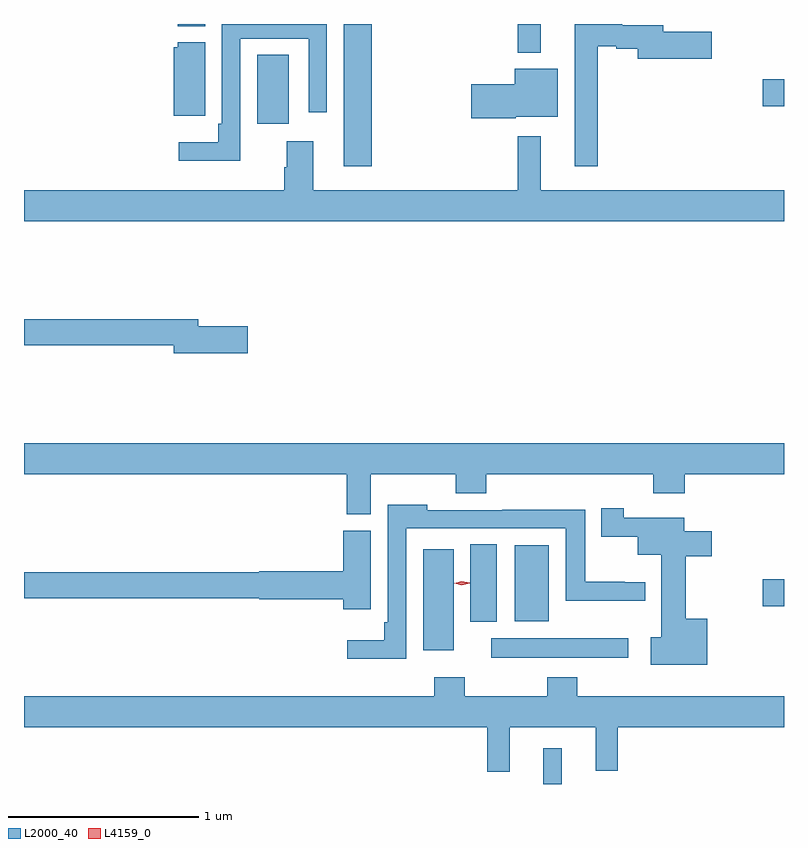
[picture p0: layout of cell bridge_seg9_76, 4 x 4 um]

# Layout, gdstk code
import gdstk
lib = gdstk.Library(unit=1e-6, precision=1e-09)
def R(c, l, rs):  # rectangles x0, y0, x1, y1
    for r in rs: c.add(gdstk.rectangle(r[:2], r[2:], *l))
def P(c, l, *ps):  # polygons
    for p in ps: c.add(gdstk.Polygon(p, *l))
L2000_40 = (2000, 40)
L4159_0 = (4159, 0)

bridge_seg9_76 = lib.new_cell('bridge_seg9_76')
R(bridge_seg9_76, L2000_40, [(1022.654,1213.438,1022.751,1213.627), (1022.379,1214.102,1023.1,1214.206), (1022.021,1214.142,1022.182,1214.674), (1022.27,1214.291,1022.41,1214.699), (1022.504,1214.294,1022.683,1214.695), (1023.81,1214.374,1023.921,1214.516), (1021.604,1216.689,1021.751,1217.438), (1021.148,1216.914,1021.315,1217.276), (1023.81,1217.005,1023.921,1217.147), (1022.52,1217.288,1022.641,1217.438), (1020.731,1217.426,1020.874,1217.438)])
P(bridge_seg9_76, L2000_40, [(1022.941,1217.321),(1023.038,1217.321),(1023.038,1217.309),(1023.152,1217.309),(1023.152,1217.255),(1023.541,1217.255),(1023.541,1217.397),(1023.286,1217.397),(1023.286,1217.431),(1023.07,1217.431),(1023.07,1217.438),(1022.819,1217.438),(1022.819,1216.689),(1022.941,1216.689)],
  [(1021.059,1217.361),(1021.419,1217.361),(1021.419,1216.974),(1021.515,1216.974),(1021.515,1217.438),(1020.963,1217.438),(1020.963,1216.912),(1020.943,1216.912),(1020.943,1216.816),(1020.735,1216.816),(1020.735,1216.718),(1021.059,1216.718)],
  [(1020.874,1217.341),(1020.729,1217.341),(1020.729,1217.316),(1020.71,1217.316),(1020.71,1216.955),(1020.874,1216.955)],
  [(1022.508,1216.949),(1022.731,1216.949),(1022.731,1217.203),(1022.504,1217.203),(1022.504,1217.12),(1022.274,1217.12),(1022.274,1216.942),(1022.508,1216.942)],
  [(1023.921,1216.564),(1022.641,1216.564),(1022.641,1216.846),(1022.52,1216.846),(1022.52,1216.564),(1021.444,1216.564),(1021.444,1216.822),(1021.304,1216.822),(1021.304,1216.685),(1021.292,1216.685),(1021.292,1216.564),(1019.921,1216.564),(1019.921,1216.4),(1023.921,1216.4)],
  [(1021.099,1215.848),(1020.838,1215.848),(1020.838,1215.884),(1019.921,1215.884),(1019.921,1215.748),(1020.71,1215.748),(1020.71,1215.706),(1021.099,1215.706)],
  [(1021.747,1215.068),(1022.194,1215.068),(1022.194,1214.969),(1022.354,1214.969),(1022.354,1215.068),(1023.233,1215.068),(1023.233,1214.969),(1023.398,1214.969),(1023.398,1215.068),(1023.921,1215.068),(1023.921,1215.232),(1019.921,1215.232),(1019.921,1215.068),(1021.619,1215.068),(1021.619,1214.857),(1021.747,1214.857)],
  [(1021.932,1214.784),(1022.771,1214.784),(1022.771,1214.402),(1023.19,1214.402),(1023.19,1214.5),(1023.083,1214.5),(1023.083,1214.502),(1022.875,1214.502),(1022.875,1214.882),(1022.437,1214.882),(1022.437,1214.88),(1022.043,1214.88),(1022.043,1214.908),(1021.836,1214.908),(1021.836,1214.29),(1021.816,1214.29),(1021.816,1214.194),(1021.623,1214.194),(1021.623,1214.096),(1021.932,1214.096)],
  [(1023.517,1214.308),(1023.405,1214.308),(1023.405,1214.638),(1023.541,1214.638),(1023.541,1214.767),(1023.397,1214.767),(1023.397,1214.839),(1023.078,1214.839),(1023.078,1214.89),(1022.96,1214.89),(1022.96,1214.74),(1023.152,1214.74),(1023.152,1214.645),(1023.275,1214.645),(1023.275,1214.211),(1023.219,1214.211),(1023.219,1214.066),(1023.517,1214.066)],
  [(1021.747,1214.772),(1021.601,1214.772),(1021.601,1214.558),(1021.158,1214.558),(1021.158,1214.552),(1019.921,1214.552),(1019.921,1214.416),(1021.158,1214.416),(1021.158,1214.411),(1021.601,1214.411),(1021.601,1214.358),(1021.747,1214.358)],
  [(1022.477,1213.736),(1022.93,1213.736),(1022.93,1213.508),(1023.047,1213.508),(1023.047,1213.736),(1023.921,1213.736),(1023.921,1213.9),(1022.834,1213.9),(1022.834,1213.999),(1022.674,1213.999),(1022.674,1213.9),(1022.241,1213.9),(1022.241,1213.999),(1022.081,1213.999),(1022.081,1213.9),(1019.921,1213.9),(1019.921,1213.736),(1022.359,1213.736),(1022.359,1213.503),(1022.477,1213.503)])
P(bridge_seg9_76, L4159_0, [(1022.226,1214.485),(1022.185,1214.494),(1022.185,1214.495),(1022.185,1214.495),(1022.226,1214.505),(1022.267,1214.496),(1022.267,1214.495),(1022.267,1214.495)])

lib.write_gds('bridge_seg9_76.gds')
